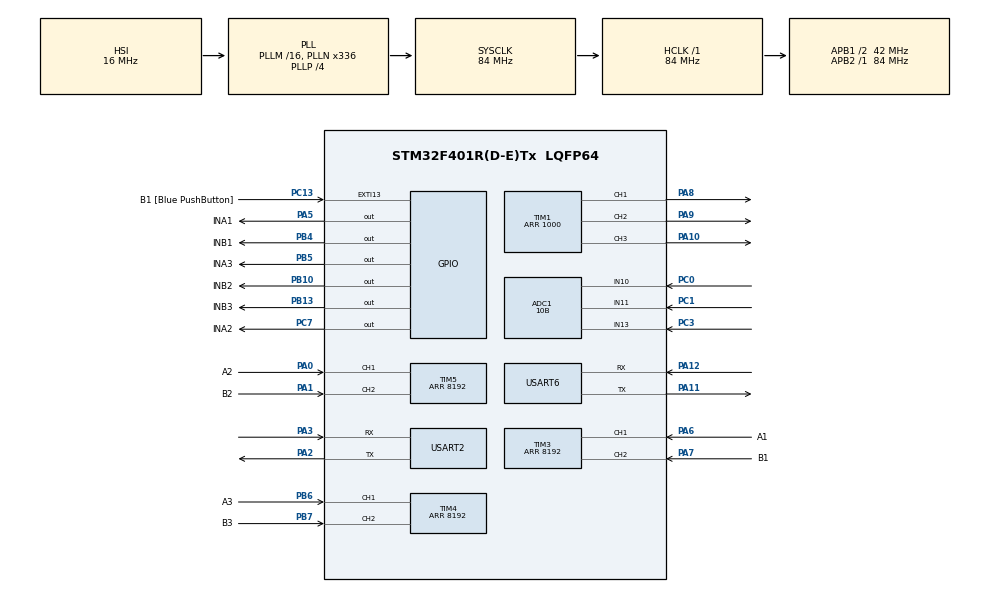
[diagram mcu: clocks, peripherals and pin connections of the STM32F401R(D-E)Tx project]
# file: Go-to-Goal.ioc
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ADC1.Channel-1\#ChannelRegularConversion=ADC_CHANNEL_11
ADC1.Channel-2\#ChannelRegularConversion=ADC_CHANNEL_10
ADC1.Channel-3\#ChannelRegularConversion=ADC_CHANNEL_13
ADC1.ClockPrescaler=ADC_CLOCK_SYNC_PCLK_DIV8
ADC1.ContinuousConvMode=ENABLE
ADC1.DMAContinuousRequests=ENABLE
ADC1.DiscontinuousConvMode=DISABLE
ADC1.InjNumberOfConversion=0
ADC1.NbrOfConversion=3
ADC1.NbrOfConversionFlag=1
ADC1.Rank-1\#ChannelRegularConversion=1
ADC1.Rank-2\#ChannelRegularConversion=2
ADC1.Rank-3\#ChannelRegularConversion=3
ADC1.Resolution=ADC_RESOLUTION_10B
ADC1.SamplingTime-1\#ChannelRegularConversion=ADC_SAMPLETIME_28CYCLES
ADC1.SamplingTime-2\#ChannelRegularConversion=ADC_SAMPLETIME_28CYCLES
ADC1.SamplingTime-3\#ChannelRegularConversion=ADC_SAMPLETIME_28CYCLES
ADC1.ScanConvMode=ENABLE
ADC1.master=1
Dma.ADC1.0.Direction=DMA_PERIPH_TO_MEMORY
Dma.ADC1.0.FIFOMode=DMA_FIFOMODE_DISABLE
Dma.ADC1.0.Instance=DMA2_Stream0
Dma.ADC1.0.MemDataAlignment=DMA_MDATAALIGN_HALFWORD
Dma.ADC1.0.MemInc=DMA_MINC_ENABLE
Dma.ADC1.0.Mode=DMA_CIRCULAR
Dma.ADC1.0.PeriphDataAlignment=DMA_PDATAALIGN_HALFWORD
Dma.ADC1.0.PeriphInc=DMA_PINC_DISABLE
Dma.ADC1.0.Priority=DMA_PRIORITY_HIGH
Dma.Request0=ADC1
Mcu.Family=STM32F4
Mcu.Name=STM32F401R(D-E)Tx
Mcu.Package=LQFP64
NVIC.DMA2_Stream0_IRQn=true\:0\:0\:false\:false\:true\:false\:true\:true
NVIC.PriorityGroup=NVIC_PRIORITYGROUP_0
NVIC.TIM1_BRK_TIM9_IRQn=true\:0\:0\:false\:false\:true\:true\:true\:true
NVIC.TIM1_CC_IRQn=true\:0\:0\:false\:false\:true\:true\:true\:true
NVIC.TIM1_TRG_COM_TIM11_IRQn=true\:0\:0\:false\:false\:true\:true\:true\:true
NVIC.TIM1_UP_TIM10_IRQn=true\:0\:0\:false\:false\:true\:true\:true\:true
NVIC.TIM3_IRQn=true\:0\:0\:false\:false\:true\:true\:true\:true
NVIC.TIM4_IRQn=true\:0\:0\:false\:false\:true\:true\:true\:true
NVIC.TIM5_IRQn=true\:0\:0\:false\:false\:true\:true\:true\:true
NVIC.USART6_IRQn=true\:0\:0\:false\:false\:true\:true\:true\:true
PA0-WKUP.GPIO_Label=A2
PA0-WKUP.Signal=S_TIM5_CH1
PA1.GPIO_Label=B2
PA1.Signal=S_TIM5_CH2
PA10.Signal=S_TIM1_CH3
PA11.Mode=Asynchronous
PA11.Signal=USART6_TX
PA12.Mode=Asynchronous
PA12.Signal=USART6_RX
PA13.GPIO_Label=TMS
PA13.Mode=Serial_Wire
PA13.Signal=SYS_JTMS-SWDIO
PA14.GPIO_Label=TCK
PA14.Mode=Serial_Wire
PA14.Signal=SYS_JTCK-SWCLK
PA2.Mode=Asynchronous
PA2.Signal=USART2_TX
PA3.Mode=Asynchronous
PA3.Signal=USART2_RX
PA5.GPIO_Label=INA1
PA5.Signal=GPIO_Output
PA6.GPIO_Label=A1
PA6.Signal=S_TIM3_CH1
PA7.GPIO_Label=B1
PA7.Signal=S_TIM3_CH2
PA8.Signal=S_TIM1_CH1
PA9.Signal=S_TIM1_CH2
PB10.GPIO_Label=INB2
PB10.Signal=GPIO_Output
PB13.GPIO_Label=INB3
PB13.Signal=GPIO_Output
PB3.GPIO_Label=SWO
PB3.Signal=SYS_JTDO-SWO
PB4.GPIO_Label=INB1
PB4.Signal=GPIO_Output
PB5.GPIO_Label=INA3
PB5.Signal=GPIO_Output
PB6.GPIO_Label=A3
PB6.Signal=S_TIM4_CH1
PB7.GPIO_Label=B3
PB7.Signal=S_TIM4_CH2
PC0.Signal=ADCx_IN10
PC1.Signal=ADCx_IN11
PC13-ANTI_TAMP.GPIO_Label=B1 [Blue PushButton]
PC13-ANTI_TAMP.GPIO_ModeDefaultEXTI=GPIO_MODE_IT_FALLING
PC13-ANTI_TAMP.GPIO_PuPd=GPIO_NOPULL
PC13-ANTI_TAMP.Signal=GPXTI13
PC14-OSC32_IN.Mode=LSE-External-Oscillator
PC14-OSC32_IN.Signal=RCC_OSC32_IN
PC15-OSC32_OUT.Mode=LSE-External-Oscillator
PC15-OSC32_OUT.Signal=RCC_OSC32_OUT
PC3.Signal=ADCx_IN13
PC7.GPIO_Label=INA2
PC7.Signal=GPIO_Output
PH0\ -\ OSC_IN.Mode=HSE-External-Clock-Source
PH0\ -\ OSC_IN.Signal=RCC_OSC_IN
PH1\ -\ OSC_OUT.Mode=HSE-External-Clock-Source
PH1\ -\ OSC_OUT.Signal=RCC_OSC_OUT
ProjectManager.HeapSize=0x200
ProjectManager.StackSize=0x400
ProjectManager.TargetToolchain=STM32CubeIDE
RCC.48MHZClocksFreq_Value=48000000
RCC.AHBFreq_Value=84000000
RCC.APB1CLKDivider=RCC_HCLK_DIV2
RCC.APB1Freq_Value=42000000
RCC.APB1TimFreq_Value=84000000
RCC.APB2Freq_Value=84000000
RCC.APB2TimFreq_Value=84000000
RCC.CortexFreq_Value=84000000
RCC.HCLKFreq_Value=84000000
RCC.HSE_VALUE=8000000
RCC.HSI_VALUE=16000000
RCC.PLLN=336
RCC.PLLP=RCC_PLLP_DIV4
RCC.PLLQ=7
RCC.SYSCLKFreq_VALUE=84000000
RCC.SYSCLKSource=RCC_SYSCLKSOURCE_PLLCLK
RCC.VCOOutputFreq_Value=336000000
SH.ADCx_IN10.0=ADC1_IN10,IN10
SH.ADCx_IN11.0=ADC1_IN11,IN11
SH.ADCx_IN13.0=ADC1_IN13,IN13
SH.S_TIM1_CH1.0=TIM1_CH1,PWM Generation1 CH1
SH.S_TIM1_CH2.0=TIM1_CH2,PWM Generation2 CH2
SH.S_TIM1_CH3.0=TIM1_CH3,PWM Generation3 CH3
SH.S_TIM3_CH1.0=TIM3_CH1,Encoder_Interface
SH.S_TIM3_CH2.0=TIM3_CH2,Encoder_Interface
SH.S_TIM4_CH1.0=TIM4_CH1,Encoder_Interface
SH.S_TIM4_CH2.0=TIM4_CH2,Encoder_Interface
SH.S_TIM5_CH1.0=TIM5_CH1,Encoder_Interface
SH.S_TIM5_CH2.0=TIM5_CH2,Encoder_Interface
TIM1.Channel-PWM\ Generation1\ CH1=TIM_CHANNEL_1
TIM1.Channel-PWM\ Generation2\ CH2=TIM_CHANNEL_2
TIM1.Channel-PWM\ Generation3\ CH3=TIM_CHANNEL_3
TIM1.Period=1000
TIM3.EncoderMode=TIM_ENCODERMODE_TI12
TIM3.Period=8192
TIM4.EncoderMode=TIM_ENCODERMODE_TI12
TIM4.Period=8192
TIM5.EncoderMode=TIM_ENCODERMODE_TI12
TIM5.Period=8192
USART2.VirtualMode=VM_ASYNC
USART6.VirtualMode=VM_ASYNC
board=NUCLEO-F401RE

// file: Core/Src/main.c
/* USER CODE BEGIN Header */
/**
  ******************************************************************************
  * @file           : main.c
  * @brief          : Main program body
  ******************************************************************************
  * @attention
  *
  * Copyright (c) 2025 STMicroelectronics.
  * All rights reserved.
  *
  * This software is licensed under terms that can be found in the LICENSE file
  * in the root directory of this software component.
  * If no LICENSE file comes with this software, it is provided AS-IS.
  *
  ******************************************************************************
  */
/* USER CODE END Header */
#include "main.h"

/* USER CODE BEGIN Includes */
#include <stdio.h>
#include <stdint.h>
#include <stdlib.h>
#include <math.h>
#include <PID_Class.h>
#include <string.h>
/* USER CODE END Includes */

/* USER CODE BEGIN PD */
#define PPR (float)8192
#define eps_0 0
#define PI 3.14159
#define NMOTORS 3
#define SQRT_3 sqrt(3.0)
#define r 0.05 // wheel radius
#define L 0.195 // Distance center-wheel
#define TAO 0.6538
#define sampleTime 0.010
#define RX_BUFFER_SIZE 64

extern UART_HandleTypeDef huart6;
/* USER CODE END PD */

ADC_HandleTypeDef hadc1;
DMA_HandleTypeDef hdma_adc1;

TIM_HandleTypeDef htim1;
TIM_HandleTypeDef htim3;
TIM_HandleTypeDef htim4;
TIM_HandleTypeDef htim5;

UART_HandleTypeDef huart2;
UART_HandleTypeDef huart6;

/* USER CODE BEGIN PV */
// Control PID parameters (CONTINUOUS)

float Kp1 = 0.3, Ki1 = 96.9838, Kd1 = 0.02;
float Kp2 = 0.3, Ki2 = 98.7907, Kd2 = 0.01;
float Kp3 = 0.2, Ki3 = 100.0, Kd3 = 0.0; // Velocity

// 40 40 -- 1.7
// 30 30 -- 1.4
// 30 20 -- 1.45
// 20 40 -- 0.9
// 25 50 -- 1.2  ----
// 30 50 -- 1.4

//Ultima prueba
//float Kp1 = 20, Ki1 = 30, Kd1 = 0.0; // 30 50 o 20 50
//float Kp2 = 20, Ki2 = 40, Kd2 = 0.0;
//float Kp3 = 10, Ki3 = 30, Kd3 = 0.0; // Torque
/*
float Kp1 = 53.8, Ki1 = 2.12, Kd1 = 0.03; // 30 50 o 20 50
float Kp2 = 55.5, Ki2 = 2.2, Kd2 = 0.03;
float Kp3 = 54, Ki3 = 2, Kd3 = 0.03;
*/
//pid[1] // Motor 3 - kp2
//pid[2] // Motor 1 - kp3
//pid[0] // Motor 2 - kp1

// Control PID parameters (DISCRETE)
/*
float Kp1 = 1.5719, Ki1 = 161.226, Kd1 = 0.0038314;
float Kp2 = 2.6585, Ki2 = 192.7245, Kd2 = 0.0091679;
float Kp3 = 2.0, Ki3 = 189.0592, Kd3 = 0.0052892; //Velocity
*/
// Platform pose
float x = 0.0, y = 0.0, phi_c = 0.0;
float xPrev = 0, yPrev = 0, phi_cPrev = 0;

//Kinematics
float C_eps = cos(eps_0);
float S_eps = sin(eps_0);
const float CA_eps_pi6 = cos(eps_0 + PI/6);
const float CM_eps_pi3 = cos(eps_0 - PI/3);
const float CA_eps_pi3 = cos(eps_0 + PI/3);
const float SA_eps_pi6 = sin(eps_0 + PI/6);
const float SM_eps_pi3 = sin(eps_0 - PI/3);
const float SA_eps_pi3 = sin(eps_0 + PI/3);
volatile float ct = 1; //cos(phi_c);
volatile float st = 0; //sin(phi_c);
float w_angle = PI/3;
float J0[2][3];
float JI[3][2];
float vx = 0, vy = 0, vw = 0;

//Current measurements
float prev_curr[3][5]={{0,0,0,0,0},{0,0,0,0,0},{0,0,0,0,0}};
float filter_curr[3][2]={{0,0},{0,0},{0,0}};
volatile float CURRENT[3] = {0.0,0.0,0.0};
volatile float VOUT[3] = {0.0,0.0,0.0};
volatile float torque[3] = {0.0,0.0,0.0};
uint32_t adc_val[3] = {0,0,0};

//Encoder measurement
volatile  int32_t current_capture[3] = {0,0,0};
volatile  int32_t current_captureA[3] = {0,0,0};
volatile float enc_count_0[3] = {0.0,0.0,0.0};
volatile float enc_count_1[3] = {0.0,0.0,0.0};
volatile float vel_rpm[3] = {0.0,0.0,0.0};
float prev_vel_rpm[3] = {0.0,0.0,0.0};
float w_rad[3] = {0.0,0.0,0.0};

// Go to goal control
float xGoal;
float yGoal;
float phi_cGoal_1 = 0.0;
float vx_sp = 0, vy_sp = 0, vw_sp = 0; //Setpoints
float eint_GGX = 0.0;
float eint_GGY = 0.0;
volatile float errorX;
volatile float errorY;
uint8_t ready;
uint16_t control =0;
float eint = 0.0;
float e = 0.0;
//Targets for different controllers
float torque_sp[3]= {0.00,0.00,0.00};
/*
 * +0.4 a -0.5 N.m sin carga
 * */
float vt[3] = {0.0,0.0,0.0};

float vt_UART[3] = {0.0,0.0,0.0};

//Serial printing
uint8_t rx_byte;
uint8_t rx_ready=0;
char rx_buffer[RX_BUFFER_SIZE];
uint16_t rx_index = 0;

int len;
char tx_buffer[64];

//uint8_t rxBuffer[25];

// Kalman
volatile float state[3] = {0.0,0.0,0.0}; // Kalman estimated state
float P = 1.0;     // Initial estimation error
float K = 0.0;
/* USER CODE END PV */

void SystemClock_Config(void);
static void MX_GPIO_Init(void);
static void MX_DMA_Init(void);
static void MX_TIM4_Init(void);
static void MX_ADC1_Init(void);
static void MX_TIM1_Init(void);
static void MX_TIM5_Init(void);
static void MX_USART6_UART_Init(void);
static void MX_TIM3_Init(void);
static void MX_USART2_UART_Init(void);
/* USER CODE BEGIN PFP */
void CalculatePositionError(float xGoal_l, float yGoal_l, float *vx_set, float *vy_set, float *vw_set, volatile float deltaT);
void IKinematics(float vx_set, float vy_set, float vw_set);
void DKinematics(float w_rad[3]);
float kalmanFilter(float dt, float u_n, float z_n, float state);
/* USER CODE END PFP */

int main(void)
{

  /* MCU Configuration--------------------------------------------------------*/

  /* Reset of all peripherals, Initializes the Flash interface and the Systick. */
  HAL_Init();

  /* USER CODE BEGIN Init */
  HAL_InitTick(TICK_INT_PRIORITY);
  /* USER CODE END Init */

  /* Configure the system clock */
  SystemClock_Config();

  /* Initialize all configured peripherals */
  MX_GPIO_Init();
  MX_DMA_Init();
  MX_TIM4_Init();
  MX_ADC1_Init();
  MX_TIM1_Init();
  MX_TIM5_Init();
  MX_USART6_UART_Init();
  MX_TIM3_Init();
  MX_USART2_UART_Init();
  /* USER CODE BEGIN 2 */
  //Initializing DMA for UART6
  //HAL_UART_Receive_DMA(&huart6, rxBuffer, 56);
  HAL_UART_Receive_IT(&huart6, &rx_byte, 1);
  //Initializing timers for encoder and PWM
  HAL_TIM_PWM_Start_IT(&htim1, TIM_CHANNEL_1);
  HAL_TIM_PWM_Start_IT(&htim1, TIM_CHANNEL_2);
  HAL_TIM_PWM_Start_IT(&htim1, TIM_CHANNEL_3);
  HAL_TIM_Encoder_Start_IT(&htim3, TIM_CHANNEL_ALL);
  HAL_TIM_Encoder_Start_IT(&htim4, TIM_CHANNEL_ALL);
  HAL_TIM_Encoder_Start_IT(&htim5, TIM_CHANNEL_ALL);

  HAL_NVIC_SetPriority(USART6_IRQn,0,0);
  HAL_NVIC_EnableIRQ(USART6_IRQn);

  HAL_NVIC_SetPriority(TIM4_IRQn, 6, 0);
  HAL_NVIC_EnableIRQ(TIM4_IRQn);

  HAL_NVIC_SetPriority(TIM5_IRQn, 6, 0);
  HAL_NVIC_EnableIRQ(TIM5_IRQn);

  HAL_NVIC_SetPriority(TIM3_IRQn, 6, 0);
  HAL_NVIC_EnableIRQ(TIM3_IRQn);

  HAL_NVIC_SetPriority(TIM1_CC_IRQn, 6, 0);
  HAL_NVIC_EnableIRQ(TIM1_CC_IRQn);

  __enable_irq();

  //Defining PID controller for each motor
  SimplePID pid[NMOTORS];
  SimplePID_Init(&pid[0]);
  SimplePID_Init(&pid[1]);
  SimplePID_Init(&pid[2]);
  SimplePID_SetParams(&pid[0], Kp1, Ki1, Kd1, 1000.0, 10.0);
  SimplePID_SetParams(&pid[1], Kp2, Ki2, Kd2, 1000.0, 10.0);
  SimplePID_SetParams(&pid[2], Kp3, Ki3, Kd3, 1000.0, 10.0);

  uint32_t start_time = HAL_GetTick();
  volatile float deltaT = 0.0;
  /* USER CODE END 2 */

  /* Infinite loop */
  while (1)
  {

    /* USER CODE BEGIN 3 */
	  deltaT = (HAL_GetTick() - start_time)/1000.0;

	  if(deltaT >= sampleTime){
		  start_time = HAL_GetTick(); // Obtén el tiempo actual

		  for(int k = 0; k < NMOTORS; k++){

			  if (k==1){//0
				  current_capture[k] = TIM5->CNT;
			  } else if (k==0){//1
				  current_capture[k] = TIM3->CNT;
			  } else{
				  current_capture[k] = TIM4->CNT;
			  }

			  if (current_capture[k]>=4096){
				  current_captureA[k] = current_capture[k]-8192;
			  } else {
				  current_captureA[k] = current_capture[k];
			  }

			  enc_count_0[k] = current_captureA[k]*1.0;
			  if (enc_count_1[k]<0 && enc_count_0[k]>=0){

				  vel_rpm[k] = -((enc_count_0[k] - enc_count_1[k] - PPR*1.0) * 60.0) / (PPR*deltaT);

			  } else if (enc_count_1[k]>0 && enc_count_0[k]<0){
				  vel_rpm[k] = -((enc_count_0[k] - enc_count_1[k] + PPR*1.0) * 60.0) / (PPR*deltaT);
			  } else{
				  vel_rpm[k] = -((enc_count_0[k] - enc_count_1[k]) * 60.0) / (PPR*deltaT);
			  }
			  if (fabs(vel_rpm[k]) > 150.0){
				  vel_rpm[k] = prev_vel_rpm[k];
			  }
			  w_rad[k] = vel_rpm[k] * PI / 30; //rad/s
			  enc_count_1[k]=enc_count_0[k];
			  prev_vel_rpm[k] = vel_rpm[k];

		  }

		  for (int i = 0; i < 3; i++) {
			  HAL_ADC_Start(&hadc1);
			  HAL_ADC_PollForConversion(&hadc1,HAL_MAX_DELAY);
			  adc_val[i] =  HAL_ADC_GetValue(&hadc1);
			  VOUT[i] = (adc_val[i] * 3.30) / (1024.0); // Variar la división según la cantidad de bits configurada (2^12)
			  CURRENT[i] = 36.7*VOUT[i]/3.30 - 18.35;
			  torque[i] = kalmanFilter(deltaT, 0, CURRENT[i]*TAO, torque[i]);
			  HAL_ADC_Stop(&hadc1);
		  }

		  DKinematics(w_rad);

		  x = x + vx*deltaT;
		  y = y + vy*deltaT;
		  phi_c = phi_c + vw*deltaT;
//
		  for (int k=0;k<NMOTORS;k++){

			  SimpleCPID_Evaluate(&pid[k], w_rad[k], vt[k], deltaT);

			  if (pid[k].sgn>0) {
				  if (k==0){ //motor 1
					  HAL_GPIO_WritePin(INA1_GPIO_Port, INA1_Pin, GPIO_PIN_SET);
					  HAL_GPIO_WritePin(GPIOB, INB1_Pin, GPIO_PIN_RESET);
					  __HAL_TIM_SET_COMPARE(&htim1, TIM_CHANNEL_1, pid[k].control);

				  } else if (k==1){// motor 2
					  HAL_GPIO_WritePin(GPIOC, INA2_Pin, GPIO_PIN_SET);
					  HAL_GPIO_WritePin(GPIOB, INB2_Pin, GPIO_PIN_RESET);
					  __HAL_TIM_SET_COMPARE(&htim1, TIM_CHANNEL_2, pid[k].control);

				  } else{ //motor 3
					  HAL_GPIO_WritePin(GPIOB, INA3_Pin, GPIO_PIN_SET);
					  HAL_GPIO_WritePin(GPIOB, INB3_Pin, GPIO_PIN_RESET);
					  __HAL_TIM_SET_COMPARE(&htim1, TIM_CHANNEL_3, pid[k].control);

				  }
			  } else{
				  if (k==0){
					  HAL_GPIO_WritePin(INA1_GPIO_Port, INA1_Pin, GPIO_PIN_RESET);
					  HAL_GPIO_WritePin(GPIOB, INB1_Pin, GPIO_PIN_SET);
					  __HAL_TIM_SET_COMPARE(&htim1, TIM_CHANNEL_1, pid[k].control);

				  } else if (k==1){
					  HAL_GPIO_WritePin(GPIOC, INA2_Pin, GPIO_PIN_RESET);
					  HAL_GPIO_WritePin(GPIOB, INB2_Pin, GPIO_PIN_SET);
					  __HAL_TIM_SET_COMPARE(&htim1, TIM_CHANNEL_2, pid[k].control);

				  } else{
					  HAL_GPIO_WritePin(GPIOB, INA3_Pin, GPIO_PIN_RESET);
					  HAL_GPIO_WritePin(GPIOB, INB3_Pin, GPIO_PIN_SET);
					  __HAL_TIM_SET_COMPARE(&htim1, TIM_CHANNEL_3, pid[k].control);
					  control = pid[k].control;
					  eint = pid[k].e_int;
					  e = pid[k].eprev1;

				  }
			  }
		  }

//
/*
// poner /*
		  CalculatePositionError(xGoal, yGoal, &vx_sp, &vy_sp, &vw_sp, deltaT);
		  IKinematics(vx_sp,vy_sp,vw_sp);

		  if(fabs(xGoal - x) < 0.03 && fabs(yGoal - y) < 0.03){

			  __HAL_TIM_SET_COMPARE(&htim1, TIM_CHANNEL_1, 0);
			  __HAL_TIM_SET_COMPARE(&htim1, TIM_CHANNEL_2, 0);
			  __HAL_TIM_SET_COMPARE(&htim1, TIM_CHANNEL_3, 0);
			  ready = 1;
			  //pid[0].
		  }
		  else{
			  ready = 0;
			  for (int k=0;k<NMOTORS;k++){

				  SimpleCPID_Evaluate(&pid[k], w_rad[k], vt[k], deltaT);

				  if (pid[k].sgn>0) {
					  if (k==0){ //motor 1
						  HAL_GPIO_WritePin(INA1_GPIO_Port, INA1_Pin, GPIO_PIN_SET);
						  HAL_GPIO_WritePin(GPIOB, INB1_Pin, GPIO_PIN_RESET);
						  __HAL_TIM_SET_COMPARE(&htim1, TIM_CHANNEL_1, pid[k].control);

					  } else if (k==1){// motor 2
						  HAL_GPIO_WritePin(GPIOC, INA2_Pin, GPIO_PIN_SET);
						  HAL_GPIO_WritePin(GPIOB, INB2_Pin, GPIO_PIN_RESET);
						  __HAL_TIM_SET_COMPARE(&htim1, TIM_CHANNEL_2, pid[k].control);

					  } else{ //motor 3
						  HAL_GPIO_WritePin(GPIOB, INA3_Pin, GPIO_PIN_SET);
						  HAL_GPIO_WritePin(GPIOB, INB3_Pin, GPIO_PIN_RESET);
						  __HAL_TIM_SET_COMPARE(&htim1, TIM_CHANNEL_3, pid[k].control);

					  }
				  } else{
					  if (k==0){
						  HAL_GPIO_WritePin(INA1_GPIO_Port, INA1_Pin, GPIO_PIN_RESET);
						  HAL_GPIO_WritePin(GPIOB, INB1_Pin, GPIO_PIN_SET);
						  __HAL_TIM_SET_COMPARE(&htim1, TIM_CHANNEL_1, pid[k].control);

					  } else if (k==1){
						  HAL_GPIO_WritePin(GPIOC, INA2_Pin, GPIO_PIN_RESET);
						  HAL_GPIO_WritePin(GPIOB, INB2_Pin, GPIO_PIN_SET);
						  __HAL_TIM_SET_COMPARE(&htim1, TIM_CHANNEL_2, pid[k].control);

					  } else{
						  HAL_GPIO_WritePin(GPIOB, INA3_Pin, GPIO_PIN_RESET);
						  HAL_GPIO_WritePin(GPIOB, INB3_Pin, GPIO_PIN_SET);
						  __HAL_TIM_SET_COMPARE(&htim1, TIM_CHANNEL_3, pid[k].control);

					  }
				  }
			  }
		  }

//  poner */

	  }
  }
  /* USER CODE END 3 */
}

void SystemClock_Config(void)
{
  RCC_OscInitTypeDef RCC_OscInitStruct = {0};
  RCC_ClkInitTypeDef RCC_ClkInitStruct = {0};

  /** Configure the main internal regulator output voltage
  */
  __HAL_RCC_PWR_CLK_ENABLE();
  __HAL_PWR_VOLTAGESCALING_CONFIG(PWR_REGULATOR_VOLTAGE_SCALE2);

  /** Initializes the RCC Oscillators according to the specified parameters
  * in the RCC_OscInitTypeDef structure.
  */
  RCC_OscInitStruct.OscillatorType = RCC_OSCILLATORTYPE_HSI;
  RCC_OscInitStruct.HSIState = RCC_HSI_ON;
  RCC_OscInitStruct.HSICalibrationValue = RCC_HSICALIBRATION_DEFAULT;
  RCC_OscInitStruct.PLL.PLLState = RCC_PLL_ON;
  RCC_OscInitStruct.PLL.PLLSource = RCC_PLLSOURCE_HSI;
  RCC_OscInitStruct.PLL.PLLM = 16;
  RCC_OscInitStruct.PLL.PLLN = 336;
  RCC_OscInitStruct.PLL.PLLP = RCC_PLLP_DIV4;
  RCC_OscInitStruct.PLL.PLLQ = 7;
  if (HAL_RCC_OscConfig(&RCC_OscInitStruct) != HAL_OK)
  {
    Error_Handler();
  }

  /** Initializes the CPU, AHB and APB buses clocks
  */
  RCC_ClkInitStruct.ClockType = RCC_CLOCKTYPE_HCLK|RCC_CLOCKTYPE_SYSCLK
                              |RCC_CLOCKTYPE_PCLK1|RCC_CLOCKTYPE_PCLK2;
  RCC_ClkInitStruct.SYSCLKSource = RCC_SYSCLKSOURCE_PLLCLK;
  RCC_ClkInitStruct.AHBCLKDivider = RCC_SYSCLK_DIV1;
  RCC_ClkInitStruct.APB1CLKDivider = RCC_HCLK_DIV2;
  RCC_ClkInitStruct.APB2CLKDivider = RCC_HCLK_DIV1;

  if (HAL_RCC_ClockConfig(&RCC_ClkInitStruct, FLASH_LATENCY_2) != HAL_OK)
  {
    Error_Handler();
  }
}

static void MX_ADC1_Init(void)
{

  ADC_ChannelConfTypeDef sConfig = {0};

  /** Configure the global features of the ADC (Clock, Resolution, Data Alignment and number of conversion)
  */
  hadc1.Instance = ADC1;
  hadc1.Init.ClockPrescaler = ADC_CLOCK_SYNC_PCLK_DIV8;
  hadc1.Init.Resolution = ADC_RESOLUTION_10B;
  hadc1.Init.ScanConvMode = ENABLE;
  hadc1.Init.ContinuousConvMode = ENABLE;
  hadc1.Init.DiscontinuousConvMode = DISABLE;
  hadc1.Init.ExternalTrigConvEdge = ADC_EXTERNALTRIGCONVEDGE_NONE;
  hadc1.Init.ExternalTrigConv = ADC_SOFTWARE_START;
  hadc1.Init.DataAlign = ADC_DATAALIGN_RIGHT;
  hadc1.Init.NbrOfConversion = 3;
  hadc1.Init.DMAContinuousRequests = ENABLE;
  hadc1.Init.EOCSelection = ADC_EOC_SINGLE_CONV;
  if (HAL_ADC_Init(&hadc1) != HAL_OK)
  {
    Error_Handler();
  }

  /** Configure for the selected ADC regular channel its corresponding rank in the sequencer and its sample time.
  */
  sConfig.Channel = ADC_CHANNEL_11;
  sConfig.Rank = 1;
  sConfig.SamplingTime = ADC_SAMPLETIME_28CYCLES;
  if (HAL_ADC_ConfigChannel(&hadc1, &sConfig) != HAL_OK)
  {
    Error_Handler();
  }

  /** Configure for the selected ADC regular channel its corresponding rank in the sequencer and its sample time.
  */
  sConfig.Channel = ADC_CHANNEL_10;
  sConfig.Rank = 2;
  if (HAL_ADC_ConfigChannel(&hadc1, &sConfig) != HAL_OK)
  {
    Error_Handler();
  }

  /** Configure for the selected ADC regular channel its corresponding rank in the sequencer and its sample time.
  */
  sConfig.Channel = ADC_CHANNEL_13;
  sConfig.Rank = 3;
  if (HAL_ADC_ConfigChannel(&hadc1, &sConfig) != HAL_OK)
  {
    Error_Handler();
  }

}

static void MX_TIM1_Init(void)
{

  TIM_MasterConfigTypeDef sMasterConfig = {0};
  TIM_OC_InitTypeDef sConfigOC = {0};
  TIM_BreakDeadTimeConfigTypeDef sBreakDeadTimeConfig = {0};

  htim1.Instance = TIM1;
  htim1.Init.Prescaler = 0;
  htim1.Init.CounterMode = TIM_COUNTERMODE_UP;
  htim1.Init.Period = 1000;
  htim1.Init.ClockDivision = TIM_CLOCKDIVISION_DIV1;
  htim1.Init.RepetitionCounter = 0;
  htim1.Init.AutoReloadPreload = TIM_AUTORELOAD_PRELOAD_DISABLE;
  if (HAL_TIM_PWM_Init(&htim1) != HAL_OK)
  {
    Error_Handler();
  }
  sMasterConfig.MasterOutputTrigger = TIM_TRGO_RESET;
  sMasterConfig.MasterSlaveMode = TIM_MASTERSLAVEMODE_DISABLE;
  if (HAL_TIMEx_MasterConfigSynchronization(&htim1, &sMasterConfig) != HAL_OK)
  {
    Error_Handler();
  }
  sConfigOC.OCMode = TIM_OCMODE_PWM1;
  sConfigOC.Pulse = 0;
  sConfigOC.OCPolarity = TIM_OCPOLARITY_HIGH;
  sConfigOC.OCNPolarity = TIM_OCNPOLARITY_HIGH;
  sConfigOC.OCFastMode = TIM_OCFAST_DISABLE;
  sConfigOC.OCIdleState = TIM_OCIDLESTATE_RESET;
  sConfigOC.OCNIdleState = TIM_OCNIDLESTATE_RESET;
  if (HAL_TIM_PWM_ConfigChannel(&htim1, &sConfigOC, TIM_CHANNEL_1) != HAL_OK)
  {
    Error_Handler();
  }
  if (HAL_TIM_PWM_ConfigChannel(&htim1, &sConfigOC, TIM_CHANNEL_2) != HAL_OK)
  {
    Error_Handler();
  }
  if (HAL_TIM_PWM_ConfigChannel(&htim1, &sConfigOC, TIM_CHANNEL_3) != HAL_OK)
  {
    Error_Handler();
  }
  sBreakDeadTimeConfig.OffStateRunMode = TIM_OSSR_DISABLE;
  sBreakDeadTimeConfig.OffStateIDLEMode = TIM_OSSI_DISABLE;
  sBreakDeadTimeConfig.LockLevel = TIM_LOCKLEVEL_OFF;
  sBreakDeadTimeConfig.DeadTime = 0;
  sBreakDeadTimeConfig.BreakState = TIM_BREAK_DISABLE;
  sBreakDeadTimeConfig.BreakPolarity = TIM_BREAKPOLARITY_HIGH;
  sBreakDeadTimeConfig.AutomaticOutput = TIM_AUTOMATICOUTPUT_DISABLE;
  if (HAL_TIMEx_ConfigBreakDeadTime(&htim1, &sBreakDeadTimeConfig) != HAL_OK)
  {
    Error_Handler();
  }
  HAL_TIM_MspPostInit(&htim1);

}

static void MX_TIM3_Init(void)
{

  TIM_Encoder_InitTypeDef sConfig = {0};
  TIM_MasterConfigTypeDef sMasterConfig = {0};

  htim3.Instance = TIM3;
  htim3.Init.Prescaler = 0;
  htim3.Init.CounterMode = TIM_COUNTERMODE_UP;
  htim3.Init.Period = 8192;
  htim3.Init.ClockDivision = TIM_CLOCKDIVISION_DIV1;
  htim3.Init.AutoReloadPreload = TIM_AUTORELOAD_PRELOAD_DISABLE;
  sConfig.EncoderMode = TIM_ENCODERMODE_TI12;
  sConfig.IC1Polarity = TIM_ICPOLARITY_RISING;
  sConfig.IC1Selection = TIM_ICSELECTION_DIRECTTI;
  sConfig.IC1Prescaler = TIM_ICPSC_DIV1;
  sConfig.IC1Filter = 0;
  sConfig.IC2Polarity = TIM_ICPOLARITY_RISING;
  sConfig.IC2Selection = TIM_ICSELECTION_DIRECTTI;
  sConfig.IC2Prescaler = TIM_ICPSC_DIV1;
  sConfig.IC2Filter = 0;
  if (HAL_TIM_Encoder_Init(&htim3, &sConfig) != HAL_OK)
  {
    Error_Handler();
  }
  sMasterConfig.MasterOutputTrigger = TIM_TRGO_RESET;
  sMasterConfig.MasterSlaveMode = TIM_MASTERSLAVEMODE_DISABLE;
  if (HAL_TIMEx_MasterConfigSynchronization(&htim3, &sMasterConfig) != HAL_OK)
  {
    Error_Handler();
  }

}

static void MX_TIM4_Init(void)
{

  TIM_Encoder_InitTypeDef sConfig = {0};
  TIM_MasterConfigTypeDef sMasterConfig = {0};

  htim4.Instance = TIM4;
  htim4.Init.Prescaler = 0;
  htim4.Init.CounterMode = TIM_COUNTERMODE_UP;
  htim4.Init.Period = 8192;
  htim4.Init.ClockDivision = TIM_CLOCKDIVISION_DIV1;
  htim4.Init.AutoReloadPreload = TIM_AUTORELOAD_PRELOAD_DISABLE;
  sConfig.EncoderMode = TIM_ENCODERMODE_TI12;
  sConfig.IC1Polarity = TIM_ICPOLARITY_RISING;
  sConfig.IC1Selection = TIM_ICSELECTION_DIRECTTI;
  sConfig.IC1Prescaler = TIM_ICPSC_DIV1;
  sConfig.IC1Filter = 0;
  sConfig.IC2Polarity = TIM_ICPOLARITY_RISING;
  sConfig.IC2Selection = TIM_ICSELECTION_DIRECTTI;
  sConfig.IC2Prescaler = TIM_ICPSC_DIV1;
  sConfig.IC2Filter = 0;
  if (HAL_TIM_Encoder_Init(&htim4, &sConfig) != HAL_OK)
  {
    Error_Handler();
  }
  sMasterConfig.MasterOutputTrigger = TIM_TRGO_RESET;
  sMasterConfig.MasterSlaveMode = TIM_MASTERSLAVEMODE_DISABLE;
  if (HAL_TIMEx_MasterConfigSynchronization(&htim4, &sMasterConfig) != HAL_OK)
  {
    Error_Handler();
  }

}

static void MX_TIM5_Init(void)
{

  TIM_Encoder_InitTypeDef sConfig = {0};
  TIM_MasterConfigTypeDef sMasterConfig = {0};

  htim5.Instance = TIM5;
  htim5.Init.Prescaler = 0;
  htim5.Init.CounterMode = TIM_COUNTERMODE_UP;
  htim5.Init.Period = 8192;
  htim5.Init.ClockDivision = TIM_CLOCKDIVISION_DIV1;
  htim5.Init.AutoReloadPreload = TIM_AUTORELOAD_PRELOAD_DISABLE;
  sConfig.EncoderMode = TIM_ENCODERMODE_TI12;
  sConfig.IC1Polarity = TIM_ICPOLARITY_RISING;
  sConfig.IC1Selection = TIM_ICSELECTION_DIRECTTI;
  sConfig.IC1Prescaler = TIM_ICPSC_DIV1;
  sConfig.IC1Filter = 0;
  sConfig.IC2Polarity = TIM_ICPOLARITY_RISING;
  sConfig.IC2Selection = TIM_ICSELECTION_DIRECTTI;
  sConfig.IC2Prescaler = TIM_ICPSC_DIV1;
  sConfig.IC2Filter = 0;
  if (HAL_TIM_Encoder_Init(&htim5, &sConfig) != HAL_OK)
  {
    Error_Handler();
  }
  sMasterConfig.MasterOutputTrigger = TIM_TRGO_RESET;
  sMasterConfig.MasterSlaveMode = TIM_MASTERSLAVEMODE_DISABLE;
  if (HAL_TIMEx_MasterConfigSynchronization(&htim5, &sMasterConfig) != HAL_OK)
  {
    Error_Handler();
  }

}

static void MX_USART2_UART_Init(void)
{

  huart2.Instance = USART2;
  huart2.Init.BaudRate = 115200;
  huart2.Init.WordLength = UART_WORDLENGTH_8B;
  huart2.Init.StopBits = UART_STOPBITS_1;
  huart2.Init.Parity = UART_PARITY_NONE;
  huart2.Init.Mode = UART_MODE_TX_RX;
  huart2.Init.HwFlowCtl = UART_HWCONTROL_NONE;
  huart2.Init.OverSampling = UART_OVERSAMPLING_16;
  if (HAL_UART_Init(&huart2) != HAL_OK)
  {
    Error_Handler();
  }

}

static void MX_USART6_UART_Init(void)
{

  huart6.Instance = USART6;
  huart6.Init.BaudRate = 115200;
  huart6.Init.WordLength = UART_WORDLENGTH_8B;
  huart6.Init.StopBits = UART_STOPBITS_1;
  huart6.Init.Parity = UART_PARITY_NONE;
  huart6.Init.Mode = UART_MODE_TX_RX;
  huart6.Init.HwFlowCtl = UART_HWCONTROL_NONE;
  huart6.Init.OverSampling = UART_OVERSAMPLING_16;
  if (HAL_UART_Init(&huart6) != HAL_OK)
  {
    Error_Handler();
  }

}

static void MX_DMA_Init(void)
{

  /* DMA controller clock enable */
  __HAL_RCC_DMA2_CLK_ENABLE();

  /* DMA interrupt init */
  /* DMA2_Stream0_IRQn interrupt configuration */
  HAL_NVIC_SetPriority(DMA2_Stream0_IRQn, 0, 0);
  HAL_NVIC_EnableIRQ(DMA2_Stream0_IRQn);

}

static void MX_GPIO_Init(void)
{
  GPIO_InitTypeDef GPIO_InitStruct = {0};

  /* GPIO Ports Clock Enable */
  __HAL_RCC_GPIOC_CLK_ENABLE();
  __HAL_RCC_GPIOH_CLK_ENABLE();
  __HAL_RCC_GPIOA_CLK_ENABLE();
  __HAL_RCC_GPIOB_CLK_ENABLE();

  /*Configure GPIO pin Output Level */
  HAL_GPIO_WritePin(INA1_GPIO_Port, INA1_Pin, GPIO_PIN_RESET);

  /*Configure GPIO pin Output Level */
  HAL_GPIO_WritePin(GPIOB, INB2_Pin|INB3_Pin|INB1_Pin|INA3_Pin, GPIO_PIN_RESET);

  /*Configure GPIO pin Output Level */
  HAL_GPIO_WritePin(INA2_GPIO_Port, INA2_Pin, GPIO_PIN_RESET);

  /*Configure GPIO pin : B1_Pin */
  GPIO_InitStruct.Pin = B1_Pin;
  GPIO_InitStruct.Mode = GPIO_MODE_IT_FALLING;
  GPIO_InitStruct.Pull = GPIO_NOPULL;
  HAL_GPIO_Init(B1_GPIO_Port, &GPIO_InitStruct);

  /*Configure GPIO pin : INA1_Pin */
  GPIO_InitStruct.Pin = INA1_Pin;
  GPIO_InitStruct.Mode = GPIO_MODE_OUTPUT_PP;
  GPIO_InitStruct.Pull = GPIO_NOPULL;
  GPIO_InitStruct.Speed = GPIO_SPEED_FREQ_LOW;
  HAL_GPIO_Init(INA1_GPIO_Port, &GPIO_InitStruct);

  /*Configure GPIO pins : INB2_Pin INB3_Pin INB1_Pin INA3_Pin */
  GPIO_InitStruct.Pin = INB2_Pin|INB3_Pin|INB1_Pin|INA3_Pin;
  GPIO_InitStruct.Mode = GPIO_MODE_OUTPUT_PP;
  GPIO_InitStruct.Pull = GPIO_NOPULL;
  GPIO_InitStruct.Speed = GPIO_SPEED_FREQ_LOW;
  HAL_GPIO_Init(GPIOB, &GPIO_InitStruct);

  /*Configure GPIO pin : INA2_Pin */
  GPIO_InitStruct.Pin = INA2_Pin;
  GPIO_InitStruct.Mode = GPIO_MODE_OUTPUT_PP;
  GPIO_InitStruct.Pull = GPIO_NOPULL;
  GPIO_InitStruct.Speed = GPIO_SPEED_FREQ_LOW;
  HAL_GPIO_Init(INA2_GPIO_Port, &GPIO_InitStruct);

}

/* USER CODE BEGIN 4 */
void DKinematics(float w_rad[3]) {
  /*
  Function that computes the velocity in rpm and the direction
  of each wheel from the absolute velocity.

  Inputs:
    - vel: Linear velocity of each motor in rad/s.
  */
	ct = cos(phi_c);
	st = sin(phi_c);
  // Angular velocity of each motor in rad/s
	J0[0][0] = (-2.0/3.0)*(S_eps       * ct + st * C_eps);
	J0[0][1] = (-2.0/3.0)*(CA_eps_pi6  * ct - st * SA_eps_pi6);
	J0[0][2] =  (2.0/3.0)*(SA_eps_pi3  * ct + st * CA_eps_pi3);
	J0[1][0] =  (2.0/3.0)*(C_eps       * ct - st * S_eps);
	J0[1][1] = (-2.0/3.0)*(CM_eps_pi3  * ct - st * SM_eps_pi3);
	J0[1][2] = (-2.0/3.0)*(CA_eps_pi3  * ct - st * SA_eps_pi3);

	vx = r*(-w_rad[0] *J0[0][0] + w_rad[1]*J0[0][1] + w_rad[2]*J0[0][2]);
	vy = r*(w_rad[0]  *J0[1][0] + w_rad[1]*J0[1][1] + w_rad[2]*J0[1][2]);
	vw = r*(w_rad[0] + w_rad[1] + w_rad[2])/(3.0*L);
}

void CalculatePositionError(float xGoal_l, float yGoal_l, float *vx_set, float *vy_set, float *vw_set, volatile float dt) {
    // Pose error
    float errorX = xGoal_l - x;
    float errorY = yGoal_l - y;
    if (ready == 1){
    	errorX = 0.0;
    	errorY = 0.0;
    	ready = 0;
    } else {
    	errorX = xGoal_l - x;
    	errorY = yGoal_l - y;
    }

    // PID Gains

    float kp = 0.5;
    float ki = 0.0;

    float propX = errorX*kp;
    float propY = errorY*kp;

    // Integral
	eint_GGX += errorX*dt;
	float integralX = eint_GGX*ki;

	eint_GGY += errorY*dt;
	float integralY = eint_GGY*ki;

    // Control signal
    double vx_global = propX + integralX;
    double vy_global = propY + integralY;

    *vw_set = 0;

    // Calcular la velocidad relativa para el robot vx y vy
    *vx_set = ct*vx_global+st*vy_global;
    *vy_set = -st*vx_global+ct*vy_global;

}

void IKinematics(float vx_set, float vy_set, float vw_set) {
  /*
  Function that computes the velocity in rpm and the direction
  of each wheel from the absolute velocity.

  Inputs:
    - vx: Linear velocity in X axis, in m/s.
    - vy: Linear velocity in Y axis, in m/s.
    - vw: Angular velocity in Z axis, in rad/s.
  */
	float w[] = {0.0, 0.0, 0.0};
  // Angular velocity of each motor in rad/s
	JI[0][0] = 3.0*J0[0][0]/2.0;
    JI[0][1] = 3.0*J0[1][0]/2.0;
    JI[1][0] = 3.0*J0[0][1]/2.0;
    JI[1][1] = 3.0*J0[1][1]/2.0;
    JI[2][0] = 3.0*J0[0][2]/2.0;
    JI[2][1] = 3.0*J0[1][2]/2.0;

    w[0] = (JI[0][0]*vx_set + JI[0][1]*vy_set + L*vw_set)/r;
    w[1] = (JI[1][0]*vx_set + JI[1][1]*vy_set + L*vw_set)/r;
    w[2] = (JI[2][0]*vx_set + JI[1][1]*vy_set + L*vw_set)/r;

    for (int i = 0; i < NMOTORS; i++) {
    // Calculate desired angular velocity in rpm
    	vt[i] = w[i];//*30/PI;
    }
}

float kalmanFilter(float dt, float u_n, float z_n, float state) {
  float Q = 0.00002;
  float R = 0.0019;

  float state1 = state + u_n * dt;
  P     = 3.3124e-04;
  P     = P + Q;

  K     = P / (P + R);
  state1 = state1 + K * (z_n - state1);
  //(1 - K) * P;

  return state1;
}

void HAL_UART_RxCpltCallback(UART_HandleTypeDef *huart)
{

	if (huart->Instance == USART6) {
	    /*if (rx_byte == '\n') {
	        // Fin de frame (detectado por \n)
	        rx_buffer[rx_index] = '\0';

	        // Parsear los dos números separados por coma

	        if (sscanf(rx_buffer, "%f,%f", &xGoal, &yGoal) == 2) {
	            // Datos válidos recibidos

	            // Preparar respuesta
	            len = snprintf(tx_buffer, sizeof(tx_buffer),
	                         "%.3f,%.3f,%.3f\r\n",
	                         x, y, phi_c);

	            // Enviar por UART (bloqueante)
	            HAL_UART_Transmit(&huart6, (uint8_t*)tx_buffer, len, HAL_MAX_DELAY);
	        }

	        // Reiniciar para siguiente frame
	        rx_index = 0;
	        memset(rx_buffer, 0, sizeof(rx_buffer));
	    }
	    else if (rx_byte != '\r') {
	        // Guardar datos (ignorar \r, solo usar \n como terminador)
	        if (rx_index < RX_BUFFER_SIZE - 1) {
	            rx_buffer[rx_index++] = rx_byte;
	        }
	    }*/

		if (rx_byte != '\n' && rx_index < RX_BUFFER_SIZE - 1) {
			rx_buffer[rx_index++] = rx_byte;
		} else {
			rx_buffer[rx_index] = '\0'; // Terminar string
			rx_index = 0;

			// ---- Procesar mensaje completo ----

			sscanf(rx_buffer, "%f,%f", &xGoal, &yGoal);
			//sscanf(rx_buffer, "%f,%f,%f", &vt[0], &vt[1], &vt[2]);
			// ---- Armar mensaje de respuesta ----
			char tx_buffer[150];
			int len = snprintf(tx_buffer, sizeof(tx_buffer),
							   //"%.2f, %.2f, %.2f, %.2f, %.2f, %.2f\r\n",
							   "[x:%.2f, y:%.2f]|[%.2f, %.2f, %.2f],[%.2f, %.2f, %.2f],[%.2f, %.2f, %.2f]\r\n",
							   //vt[0], vt[1], vt[2], x, y, phi_c);
							   x, y, vt[0], w_rad[0], torque[0], vt[1], w_rad[1], torque[1], vt[2], w_rad[2], torque[2]);
			// ---- Enviar por UART (bloqueante) ----
			HAL_UART_Transmit(&huart6, (uint8_t*)tx_buffer, len, HAL_MAX_DELAY);
			/*len = snprintf(tx_buffer, sizeof(tx_buffer),
							   //"%.2f, %.2f, %.2f, %.2f, %.2f, %.2f\r\n",
							   "%.2f, %.2f, %.2f\r\n",
							   //vt[0], vt[1], vt[2], x, y, phi_c);
							   w_rad[0], w_rad[1], w_rad[2]);
			// ---- Enviar por UART (bloqueante) ----
			HAL_UART_Transmit(&huart6, (uint8_t*)tx_buffer, len, HAL_MAX_DELAY);
			len = snprintf(tx_buffer, sizeof(tx_buffer),
							   //"%.2f, %.2f, %.2f, %.2f, %.2f, %.2f\r\n",
							   "%.2f, %.2f, %.2f\r\n",
							   //vt[0], vt[1], vt[2], x, y, phi_c);
							   vt[0]-w_rad[0], vt[1]-w_rad[1], vt[2]-w_rad[2]);
			// ---- Enviar por UART (bloqueante) ----
			HAL_UART_Transmit(&huart6, (uint8_t*)tx_buffer, len, HAL_MAX_DELAY);
*/

			// Aquí puedes usar los valores, ejemplo:
			// printf("V1=%.3f, V2=%.3f, V3=%.3f\n", valor1, valor2, valor3);
		}

	    // Reactivar recepción
	    HAL_UART_Receive_IT(&huart6, &rx_byte, 1);
	}

}
/* USER CODE END 4 */

void Error_Handler(void)
{
  __disable_irq();
  while (1)
  {
  }
}
